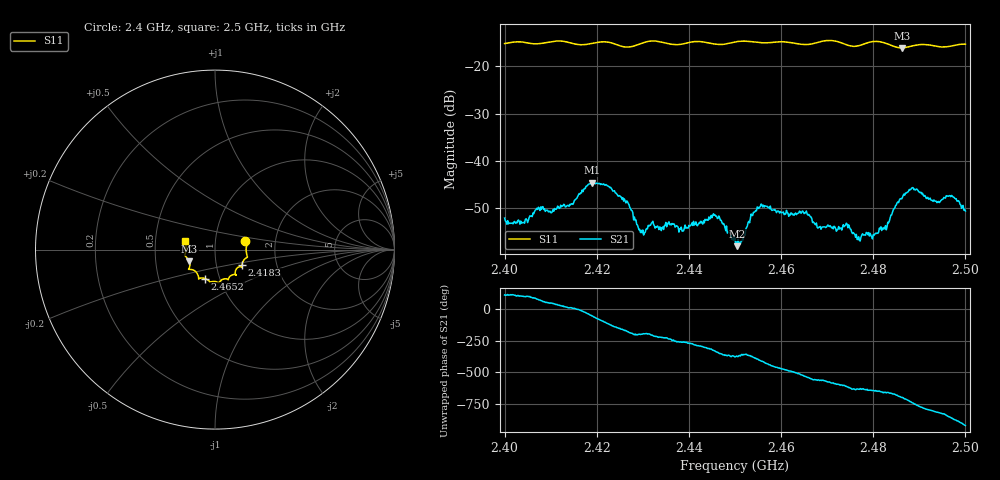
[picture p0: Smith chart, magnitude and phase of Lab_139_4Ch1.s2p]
# Hz S RI R 50
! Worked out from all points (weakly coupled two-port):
!   601 points, 2.4 GHz to 2.5 GHz, reference 50 ohm
!   highest |S21| = -44.57 dB at 2.419 GHz (marker M1); lowest = -58.0 dB at 2.4505 GHz (marker M2)
!   lowest |S11| = -16.1 dB at 2.4862 GHz (marker M3), VSWR 1.37, Z = 37.2 - j4.9 ohm
!   |S11| at or under -10 dB: start of sweep to end of sweep
!   S12 and S22 are empty: the file has one direction only
!   S11 on the Smith chart (normalised r, x): 2.4 GHz: 1.40, +0.14; 2.4183 GHz: 1.33, -0.24; 2.4652 GHz: 0.85, -0.28; 2.5 GHz: 0.71, +0.07
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2.4e9  0.1679 0.0472  -0.000874 0.00233  0 0  0 0
2.403833e9  0.1789 0.0276  -0.000391 0.00219  0 0  0 0
2.416667e9  0.1552 -0.0679  0.00444 -0.00116  0 0  0 0
2.418333e9  0.1499 -0.0861  0.0042 -0.00388  0 0  0 0
2.419e9  0.1493 -0.0918  0.0033 -0.0049  0 0  0 0
2.4265e9  0.1221 -0.1036  -0.00376 -0.000357  0 0  0 0
2.429667e9  0.113 -0.1337  -0.00174 0.000611  0 0  0 0
2.433333e9  0.1171 -0.1415  -0.00143 0.00141  0 0  0 0
2.445667e9  0.0571 -0.1625  0.00239 0.00123  0 0  0 0
2.45e9  0.0259 -0.1795  0.00142 -0.000499  0 0  0 0
2.4505e9  0.0241 -0.1816  0.00121 -0.000341  0 0  0 0
2.455333e9  0.00518 -0.1786  0.00232 -0.00228  0 0  0 0
2.465167e9  -0.0545 -0.1614  -0.00277 -0.000376  0 0  0 0
2.466667e9  -0.0707 -0.1579  -0.00238 0.000594  0 0  0 0
2.474333e9  -0.0967 -0.1379  -0.000588 0.00207  0 0  0 0
2.477e9  -0.121 -0.1139  0.000114 0.00144  0 0  0 0
2.483333e9  -0.1413 -0.0966  0.00111 0.00192  0 0  0 0
2.486167e9  -0.1432 -0.0642  0.00369 0.00147  0 0  0 0
2.488833e9  -0.1609 -0.0413  0.00444 -0.00222  0 0  0 0
2.493833e9  -0.1626 -0.0112  -0.0003 -0.00362  0 0  0 0
2.497e9  -0.1622 0.0265  -0.00335 -0.00273  0 0  0 0
2.5e9  -0.1655 0.0474  -0.0028 0.00097  0 0  0 0
